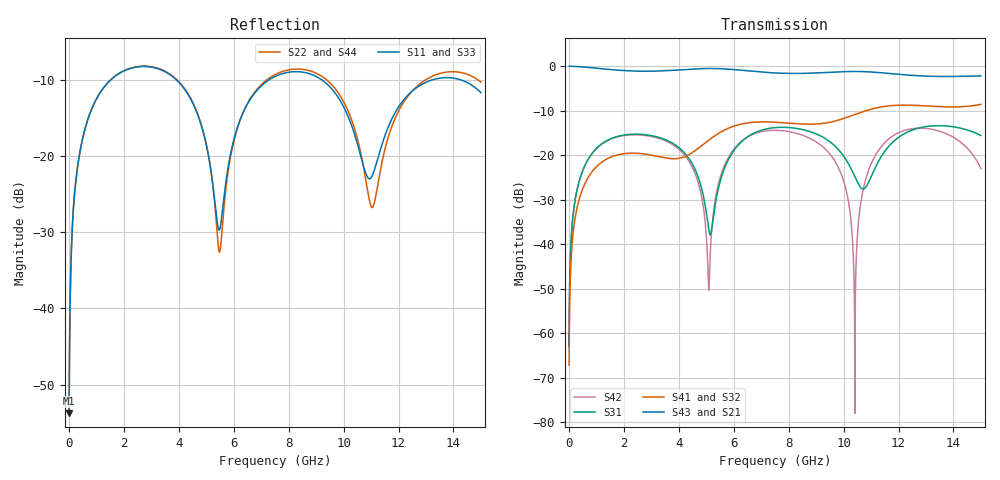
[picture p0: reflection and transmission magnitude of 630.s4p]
! Created with skrf 1.8.0 (http://scikit-rf.org).
# GHz S RI R 50.0
!freq ReS11 ImS11 ReS12 ImS12 ReS13 ImS13
! ReS14 ImS14
! ReS21 ImS21 ReS22 ImS22 ReS23 ImS23
! ReS24 ImS24
! ReS31 ImS31 ReS32 ImS32 ReS33 ImS33
! ReS34 ImS34
! ReS41 ImS41 ReS42 ImS42 ReS43 ImS43
! ReS44 ImS44
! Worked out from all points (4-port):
!   2499 points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, 5 MHz to 15 GHz, reference 50 ohm
!   strongest paths, dB at 5 MHz, 3.476 GHz, 7.19 GHz, 11.1 GHz, 15 GHz:
!     S43: 0.0, -1.0, -1.4, -1.4, -2.2
!     S21: 0.0, -1.0, -1.4, -1.4, -2.2
!     S41: -67.1, -20.6, -12.5, -9.5, -8.6
!     S32: -67.1, -20.7, -12.6, -9.5, -8.6
!     S31: -63.0, -16.4, -14.1, -23.5, -15.6
!     S42: -63.0, -16.7, -14.5, -20.7, -23.0
!   lowest |S11| = -53.8 dB at 5 MHz (marker M1), VSWR 1.00, Z = 50.2 + j0.124 ohm
!   |S11| at or under -10 dB: start of sweep to 1.526 GHz; 3.909 GHz to 7.291 GHz (3.382 GHz wide, 60.4 % of centre); 9.201 GHz to 13.24 GHz (4.044 GHz wide, 36 % of centre) (the widest 3 of 4)
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0.005  0.00163 0.00123  0.9983 -0.00318  8.4e-05 0.000702  -8.12e-05 -0.000432
       0.9983 -0.00318  0.00163 0.00123  -8.12e-05 -0.000432  8.39e-05 0.000702
       8.4e-05 0.000702  -8.12e-05 -0.000432  0.00163 0.00123  0.9983 -0.00318
       -8.12e-05 -0.000432  8.39e-05 0.000702  0.9983 -0.00318  0.00163 0.00123
1.619545  0.2788 0.1709  0.5232 -0.7431  0.1451 0.0603  -0.0976 -0.0011
          0.5232 -0.7431  0.2807 0.1695  -0.0974 -0.00134  0.1403 0.0673
          0.1451 0.0603  -0.0974 -0.00134  0.279 0.1708  0.5232 -0.7431
          -0.0976 -0.0011  0.1403 0.0673  0.5232 -0.7431  0.2806 0.1696
5.089621  0.0506 -0.0837  -0.8941 -0.2928  -0.0125 -0.00756  -0.0396 0.1421
          -0.8941 -0.2928  0.0421 -0.0894  -0.043 0.1411  0.00303 0.000124
          -0.0125 -0.00756  -0.043 0.1411  0.0498 -0.0849  -0.8939 -0.2931
          -0.0396 0.1421  0.00303 0.000124  -0.8939 -0.2931  0.0434 -0.0899
8.578574  0.3506 -0.0408  0.0191 0.8285  0.1508 -0.118  0.2092 -0.0778
          0.0191 0.8285  0.3643 -0.055  0.2095 -0.0695  0.1511 -0.064
          0.1508 -0.118  0.2095 -0.0695  0.3496 -0.0418  0.0194 0.8294
          0.2092 -0.0778  0.1511 -0.064  0.0194 0.8294  0.3604 -0.0546
10.41059  0.1013 -0.0918  0.7527 0.4361  -0.0432 -0.038  0.13 -0.2553
          0.7527 0.4361  0.0867 -0.1208  0.1415 -0.2489  -0.000121 3.65e-05
          -0.0432 -0.038  0.1415 -0.2489  0.0991 -0.0905  0.7536 0.4353
          0.13 -0.2553  -0.000121 3.65e-05  0.7536 0.4353  0.0853 -0.1189
11.59233  0.1156 0.095  0.8179 -0.1463  0.0678 0.0993  -0.0972 -0.3424
          0.8179 -0.1463  0.0868 0.0922  -0.082 -0.3454  0.0941 0.1131
          0.0678 0.0993  -0.082 -0.3454  0.1172 0.0968  0.8178 -0.1469
          -0.0972 -0.3424  0.0941 0.1131  0.8178 -0.1469  0.0842 0.0905
15  0.2444 -0.0897  -0.3138 -0.7066  -0.0218 -0.1649  -0.3224 0.1849
    -0.3138 -0.7066  0.2741 -0.1343  -0.3327 0.1611  0.0157 -0.0692
    -0.0218 -0.1649  -0.3327 0.1611  0.2305 -0.096  -0.3187 -0.7082
    -0.3224 0.1849  0.0157 -0.0692  -0.3187 -0.7082  0.2653 -0.123
